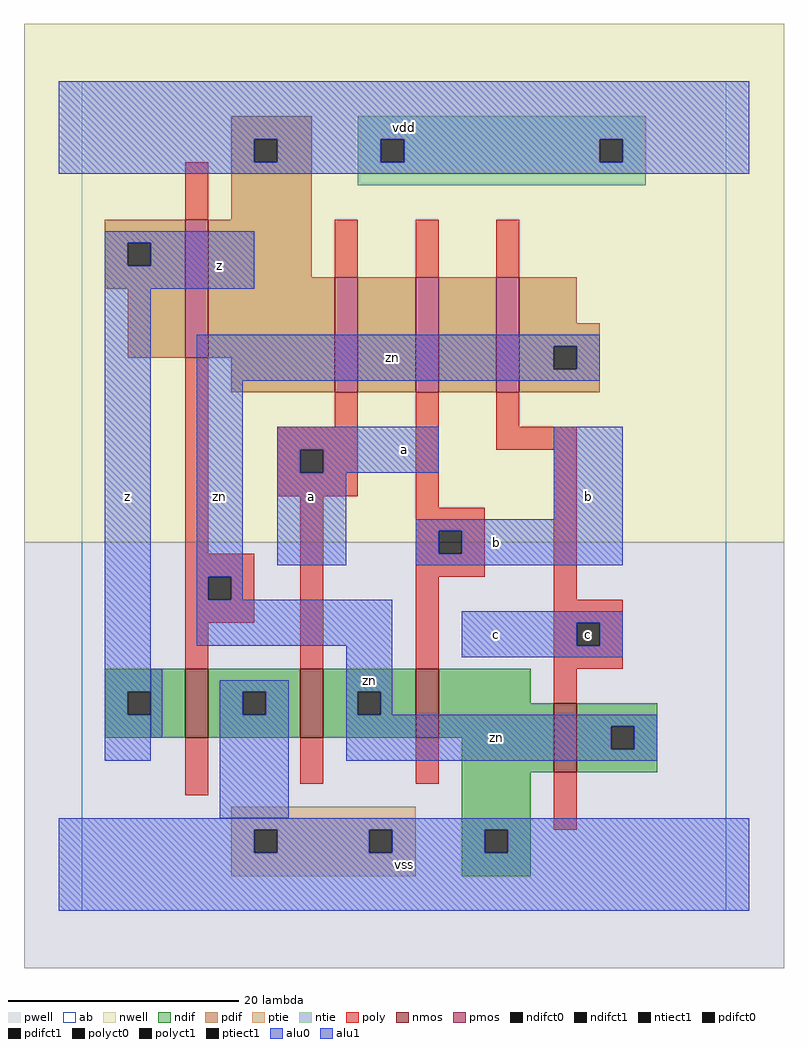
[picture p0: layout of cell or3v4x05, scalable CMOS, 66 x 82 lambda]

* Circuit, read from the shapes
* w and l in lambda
.subckt or3v4x05 a b c vdd vss z zn
M1 vss zn z vss nfet w=6 l=2
M2 zn a vss vss nfet w=6 l=2
M3 vss b zn vss nfet w=6 l=2
M4 zn c vss vss nfet w=6 l=2
M5 vdd zn z vdd pfet w=12 l=2
M6 n1 a vdd vdd pfet w=10 l=2
M7 n2 b n1 vdd pfet w=10 l=2
M8 zn c n2 vdd pfet w=10 l=2
.ends

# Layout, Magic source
magic
tech scmos
<< ab >>
rect 0 0 56 72
<< nwell >>
rect -5 32 61 77
<< pwell >>
rect -5 -5 61 32
<< poly >>
rect 9 60 11 65
rect 22 55 24 60
rect 29 55 31 60
rect 36 55 38 60
rect 9 31 11 48
rect 22 42 24 45
rect 17 40 24 42
rect 17 38 19 40
rect 21 38 24 40
rect 17 36 24 38
rect 9 29 15 31
rect 9 27 11 29
rect 13 27 15 29
rect 9 25 15 27
rect 9 21 11 25
rect 19 21 21 36
rect 29 35 31 45
rect 36 42 38 45
rect 36 40 43 42
rect 29 33 35 35
rect 29 31 31 33
rect 33 31 35 33
rect 29 29 35 31
rect 29 21 31 29
rect 41 27 43 40
rect 41 25 47 27
rect 41 23 43 25
rect 45 23 47 25
rect 41 21 47 23
rect 41 18 43 21
rect 9 10 11 15
rect 19 11 21 15
rect 29 11 31 15
rect 41 7 43 12
<< ndif >>
rect 2 19 9 21
rect 2 17 4 19
rect 6 17 9 19
rect 2 15 9 17
rect 11 19 19 21
rect 11 17 14 19
rect 16 17 19 19
rect 11 15 19 17
rect 21 19 29 21
rect 21 17 24 19
rect 26 17 29 19
rect 21 15 29 17
rect 31 18 39 21
rect 31 15 41 18
rect 33 12 41 15
rect 43 16 50 18
rect 43 14 46 16
rect 48 14 50 16
rect 43 12 50 14
rect 33 7 39 12
rect 33 5 35 7
rect 37 5 39 7
rect 33 3 39 5
<< pdif >>
rect 13 67 20 69
rect 13 65 15 67
rect 17 65 20 67
rect 13 60 20 65
rect 2 58 9 60
rect 2 56 4 58
rect 6 56 9 58
rect 2 54 9 56
rect 4 48 9 54
rect 11 55 20 60
rect 11 48 22 55
rect 13 45 22 48
rect 24 45 29 55
rect 31 45 36 55
rect 38 51 43 55
rect 38 49 45 51
rect 38 47 41 49
rect 43 47 45 49
rect 38 45 45 47
<< alu1 >>
rect -2 67 58 72
rect -2 65 15 67
rect 17 65 26 67
rect 28 65 45 67
rect 47 65 58 67
rect -2 64 58 65
rect 2 58 15 59
rect 2 56 4 58
rect 6 56 15 58
rect 2 54 15 56
rect 2 19 6 54
rect 17 40 31 42
rect 17 38 19 40
rect 21 38 31 40
rect 17 30 23 38
rect 41 34 47 42
rect 29 33 47 34
rect 29 31 31 33
rect 33 31 47 33
rect 29 30 47 31
rect 2 17 4 19
rect 2 13 6 17
rect 33 25 47 26
rect 33 23 43 25
rect 45 23 47 25
rect 33 22 47 23
rect -2 7 58 8
rect -2 5 15 7
rect 17 5 25 7
rect 27 5 35 7
rect 37 5 58 7
rect -2 0 58 5
<< ptie >>
rect 13 7 29 9
rect 13 5 15 7
rect 17 5 25 7
rect 27 5 29 7
rect 13 3 29 5
<< ntie >>
rect 24 67 49 69
rect 24 65 26 67
rect 28 65 45 67
rect 47 65 49 67
rect 24 63 49 65
<< nmos >>
rect 9 15 11 21
rect 19 15 21 21
rect 29 15 31 21
rect 41 12 43 18
<< pmos >>
rect 9 48 11 60
rect 22 45 24 55
rect 29 45 31 55
rect 36 45 38 55
<< polyct0 >>
rect 11 27 13 29
<< polyct1 >>
rect 19 38 21 40
rect 31 31 33 33
rect 43 23 45 25
<< ndifct0 >>
rect 14 17 16 19
rect 24 17 26 19
rect 46 14 48 16
<< ndifct1 >>
rect 4 17 6 19
rect 35 5 37 7
<< ntiect1 >>
rect 26 65 28 67
rect 45 65 47 67
<< ptiect1 >>
rect 15 5 17 7
rect 25 5 27 7
<< pdifct0 >>
rect 41 47 43 49
<< pdifct1 >>
rect 15 65 17 67
rect 4 56 6 58
<< alu0 >>
rect 10 49 45 50
rect 10 47 41 49
rect 43 47 45 49
rect 10 46 45 47
rect 10 29 14 46
rect 10 27 11 29
rect 13 27 14 29
rect 10 23 27 27
rect 6 15 7 21
rect 12 19 18 20
rect 12 17 14 19
rect 16 17 18 19
rect 12 8 18 17
rect 23 19 27 23
rect 23 17 24 19
rect 26 17 27 19
rect 23 16 50 17
rect 23 14 46 16
rect 48 14 50 16
rect 23 13 50 14
<< labels >>
rlabel alu0 12 36 12 36 6 zn
rlabel alu0 25 20 25 20 6 zn
rlabel alu0 36 15 36 15 6 zn
rlabel alu0 27 48 27 48 6 zn
rlabel alu1 4 36 4 36 6 z
rlabel alu1 20 36 20 36 6 a
rlabel alu1 12 56 12 56 6 z
rlabel alu1 28 4 28 4 6 vss
rlabel alu1 36 24 36 24 6 c
rlabel alu1 36 32 36 32 6 b
rlabel alu1 28 40 28 40 6 a
rlabel alu1 28 68 28 68 6 vdd
rlabel polyct1 44 24 44 24 6 c
rlabel alu1 44 36 44 36 6 b
<< end >>
